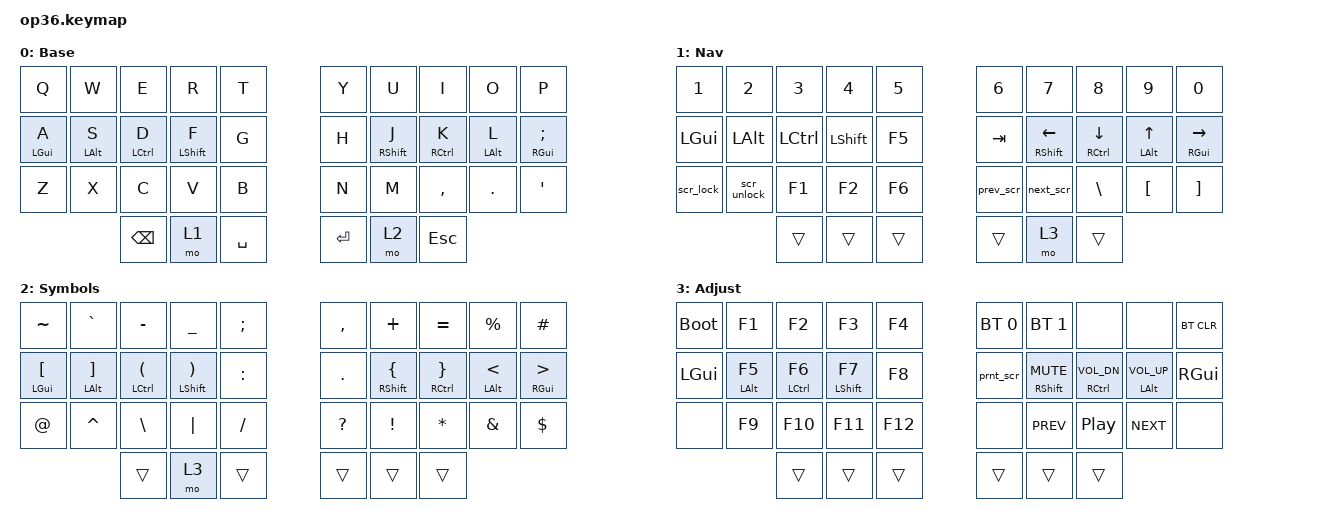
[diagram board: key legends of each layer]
#include "keys_ru.h"
#include <behaviors.dtsi>
#include <dt-bindings/zmk/bt.h>
#include <dt-bindings/zmk/keys.h>

&mt {
    quick-tap-ms = <200>;
    flavor = "tap-preferred";
    require-prior-idle-ms = <125>;
};

/ {
    behaviors {
        hml: home_row_mod_left {
            compatible = "zmk,behavior-hold-tap";
            #binding-cells = <2>;
            flavor = "balanced";
            require-prior-idle-ms = <150>;
            tapping-term-ms = <280>;
            quick-tap-ms = <175>;
            bindings = <&kp>, <&kp>;

            hold-trigger-key-positions = <5 6 7 8 9 15 16 17 18 19 25 26 27 28 29 33 34 35>;
            hold-trigger-on-release;
        };

        hmr: home_row_mod_right {
            compatible = "zmk,behavior-hold-tap";
            #binding-cells = <2>;
            flavor = "balanced";
            require-prior-idle-ms = <150>;
            tapping-term-ms = <280>;
            quick-tap-ms = <175>;
            bindings = <&kp>, <&kp>;

            hold-trigger-key-positions = <0 1 2 3 4 10 11 12 13 14 20 21 22 23 24 30 31 32>;
            hold-trigger-on-release;
        };
    };

    combos {
        compatible = "zmk,combos";

        kha {
            bindings = <&kp LBKT>;
            key-positions = <6 7>;
        };

        hrdsgn {
            bindings = <&kp RBKT>;
            key-positions = <7 8>;
        };
    };

    macros {
        next_scr: next_scr {
            compatible = "zmk,behavior-macro";
            #binding-cells = <0>;
            bindings = <&kp LC(RIGHT_ARROW)>;
            label = "NEXT_SCR";
        };

        prev_scr: prev_scr {
            compatible = "zmk,behavior-macro";
            #binding-cells = <0>;
            bindings = <&kp LC(LEFT_ARROW)>;
            label = "PREV_SCR";
        };

        scr_lock: scr_lock {
            compatible = "zmk,behavior-macro";
            #binding-cells = <0>;
            bindings = <&kp LG(RC(Q))>;
            label = "SCR_LOCK";
        };

        scr_unlock: scr_unlock {
            compatible = "zmk,behavior-macro";
            #binding-cells = <0>;
            bindings = <&kp M &kp A &kp R &kp I &kp Y &kp A &kp N0>;
            label = "SCR_UNLOCK";
        };

        prnt_scr: prnt_scr {
            compatible = "zmk,behavior-macro";
            #binding-cells = <0>;
            bindings = <&kp LG(LS(NUMBER_4))>;
            label = "PRNT_SCR";
        };
    };

    keymap {
        compatible = "zmk,keymap";

        base {
            bindings = <
  &kp Q        &kp W        &kp E         &kp R          &kp T                          &kp Y  &kp U         &kp I         &kp O        &kp P
  &hml LGUI A  &hml LALT S  &hml LCTRL D  &hml LSHFT F   &kp G                          &kp H  &hmr RSHFT J  &hmr RCTRL K  &hmr LALT L  &hmr RGUI SEMICOLON
  &kp Z        &kp X        &kp C         &kp V          &kp B                          &kp N  &kp M         &kp COMMA     &kp DOT      &kp SQT
                                          &kp BACKSPACE  &mo 1  &kp SPACE    &kp ENTER  &mo 2  &kp ESC
            >;

            display-name = "Base";
        };

        nav {
            bindings = <
  &kp N1     &kp N2       &kp N3     &kp N4     &kp N5                    &kp N6     &kp N7           &kp N8           &kp N9            &kp N0
  &kp LGUI   &kp LALT     &kp LCTRL  &kp LSHFT  &kp F5                    &kp TAB    &hmr RSHFT LEFT  &hmr RCTRL DOWN  &hmr LALT UP      &hmr RGUI RIGHT
  &scr_lock  &scr_unlock  &kp F1     &kp F2     &kp F6                    &prev_scr  &next_scr        &kp BACKSLASH    &kp LEFT_BRACKET  &kp RIGHT_BRACKET
                                     &trans     &trans  &trans    &trans  &mo 3      &trans
            >;

            display-name = "Nav";
        };

        sym {
            bindings = <
  &kp TILDE               &kp GRAVE                &kp MINUS                    &kp UNDER        &kp SEMI                     &kp COMMA  &kp PLUS         &kp EQUAL               &kp PRCNT            &kp HASH
  &hml LGUI LEFT_BRACKET  &hml LALT RIGHT_BRACKET  &hml LCTRL LEFT_PARENTHESIS  &hml LSHFT RPAR  &kp COLON                    &kp DOT    &hmr RSHFT LBRC  &hmr RCTRL RIGHT_BRACE  &hmr LALT LESS_THAN  &hmr RGUI GREATER_THAN
  &kp AT_SIGN             &kp CARET                &kp BACKSLASH                &kp PIPE         &kp SLASH                    &kp QMARK  &kp EXCL         &kp ASTRK               &kp AMPS             &kp DLLR
                                                                                &trans           &mo 3      &trans    &trans  &trans     &trans
            >;

            display-name = "Symbols";
        };

        adj {
            bindings = <
  &bootloader  &kp F1        &kp F2         &kp F3         &kp F4                     &bt BT_SEL 0  &bt BT_SEL 1       &none                &none               &bt BT_CLR
  &kp LGUI     &hml LALT F5  &hml LCTRL F6  &hml LSHFT F7  &kp F8                     &prnt_scr     &hmr RSHFT C_MUTE  &hmr RCTRL C_VOL_DN  &hmr LALT C_VOL_UP  &kp RGUI
  &none        &kp F9        &kp F10        &kp F11        &kp F12                    &none         &kp C_PREV         &kp C_PP             &kp C_NEXT          &none
                                            &trans         &trans   &trans    &trans  &trans        &trans
            >;

            display-name = "Adjust";
        };
    };
};
